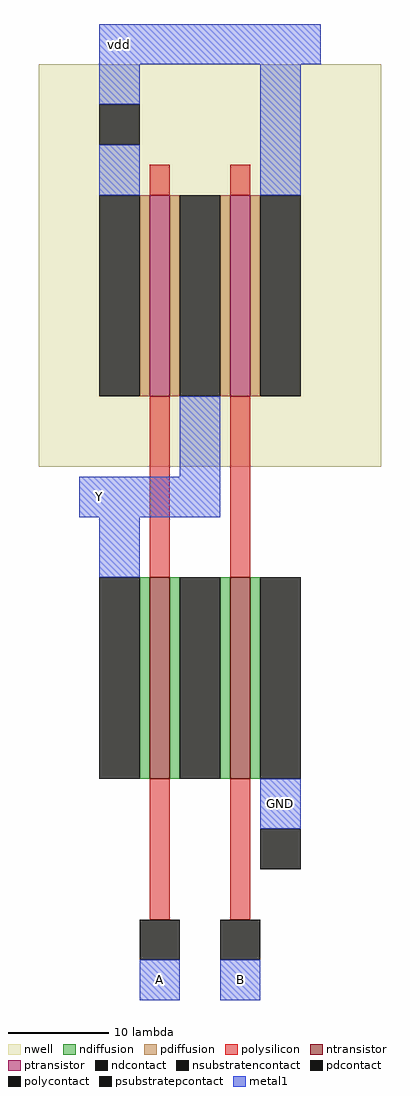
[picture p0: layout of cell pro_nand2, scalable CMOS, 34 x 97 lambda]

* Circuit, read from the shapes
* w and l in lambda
.subckt pro_nand2 A B GND Y vdd
M1 n1 A Y GND nfet w=20 l=2
M2 GND B n1 GND nfet w=20 l=2
M3 Y A vdd vdd pfet w=20 l=2
M4 vdd B Y vdd pfet w=20 l=2
.ends

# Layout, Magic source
magic
tech scmos
<< nwell >>
rect -6 -7 28 33
<< ntransistor >>
rect 5 -38 7 -18
rect 13 -38 15 -18
<< ptransistor >>
rect 5 0 7 20
rect 13 0 15 20
<< ndiffusion >>
rect 4 -38 5 -18
rect 7 -38 8 -18
rect 12 -38 13 -18
rect 15 -38 16 -18
<< pdiffusion >>
rect 4 0 5 20
rect 7 0 8 20
rect 12 0 13 20
rect 15 0 16 20
<< ndcontact >>
rect 0 -38 4 -18
rect 8 -38 12 -18
rect 16 -38 20 -18
<< pdcontact >>
rect 0 0 4 20
rect 8 0 12 20
rect 16 0 20 20
<< psubstratepcontact >>
rect 16 -47 20 -43
<< nsubstratencontact >>
rect 0 25 4 29
<< polysilicon >>
rect 5 20 7 23
rect 13 20 15 23
rect 5 -18 7 0
rect 13 -18 15 0
rect 5 -52 7 -38
rect 13 -52 15 -38
<< polycontact >>
rect 4 -56 8 -52
rect 12 -56 16 -52
<< metal1 >>
rect 0 33 22 37
rect 0 29 4 33
rect 0 20 4 25
rect 16 20 20 33
rect 8 -8 12 0
rect -2 -12 12 -8
rect 0 -18 4 -12
rect 16 -43 20 -38
rect 4 -60 8 -56
rect 12 -60 16 -56
<< labels >>
rlabel metal1 16 -42 20 -39 1 GND
rlabel metal1 4 -60 8 -56 1 A
rlabel metal1 12 -60 16 -56 1 B
rlabel metal1 -2 -12 2 -8 1 Y
rlabel metal1 0 33 4 37 5 vdd
<< end >>
